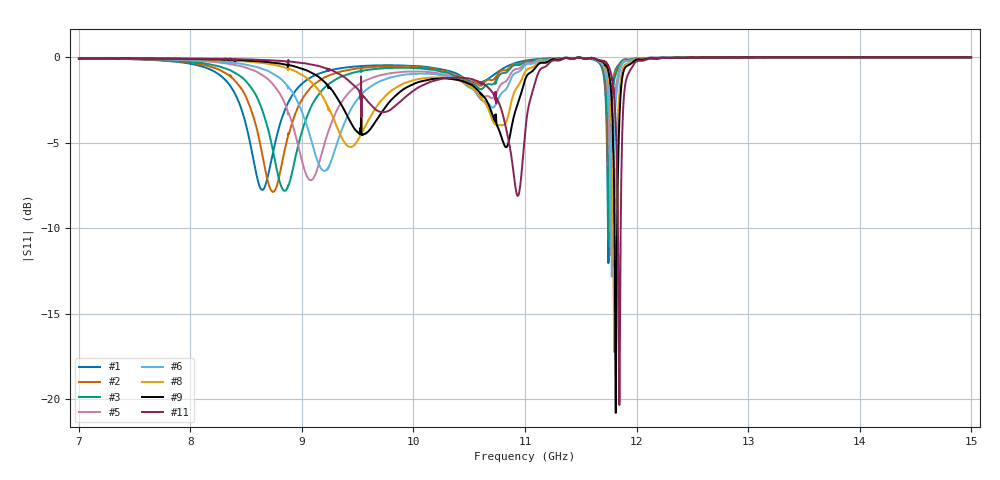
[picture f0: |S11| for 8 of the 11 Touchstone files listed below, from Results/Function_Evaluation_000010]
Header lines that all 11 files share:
! TOUCHSTONE file generated by CST DESIGN STUDIO
! Project name: C:\Work\MatlabApps\UnitCellType2OptimizationMatlab\CST\unitcell.cst
! Tree item: Tasks\Sweep1\SPara1\S-Parameters
! Header version: 2024
! Port assignment regex: !\s*Touchstone port\s*([0-9]+)\s*=\s*(CST MWS port|CST DES external port|CST DES block port)\s*(.+)\s* \(\"(.*)\"\)(\s*mode\s*([0-9]+))?.*
! Touchstone port assignment:
! Touchstone port 1 = CST DES external port 1 ("")
# GHz S MA R 50
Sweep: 7 GHz to 15 GHz
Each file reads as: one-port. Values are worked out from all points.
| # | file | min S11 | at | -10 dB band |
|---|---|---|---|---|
| 1 | DS_for_MWS-run-0001.s1p | -12.0 dB | 11.75 GHz | 9.341 MHz wide |
| 2 | DS_for_MWS-run-0002.s1p | -10.7 dB | 11.75 GHz | 6.094 MHz wide |
| 3 | DS_for_MWS-run-0003.s1p | -10.8 dB | 11.76 GHz | 6.174 MHz wide |
| 4 | DS_for_MWS-run-0004.s1p | -11.0 dB | 11.76 GHz | 6.85 MHz wide |
| 5 | DS_for_MWS-run-0005.s1p | -11.6 dB | 11.77 GHz | 9.227 MHz wide |
| 6 | DS_for_MWS-run-0006.s1p | -12.8 dB | 11.78 GHz | 16.17 MHz wide |
| 7 | DS_for_MWS-run-0007.s1p | -16.3 dB | 11.79 GHz | 18.38 MHz wide |
| 8 | DS_for_MWS-run-0008.s1p | -17.2 dB | 11.8 GHz | 20.92 MHz wide |
| 9 | DS_for_MWS-run-0009.s1p | -20.8 dB | 11.81 GHz | 23.45 MHz wide |
| 10 | DS_for_MWS-run-0010.s1p | -22.6 dB | 11.83 GHz | 26.03 MHz wide |
| 11 | DS_for_MWS-run-0011.s1p | -20.3 dB | 11.85 GHz | 24.45 MHz wide |
